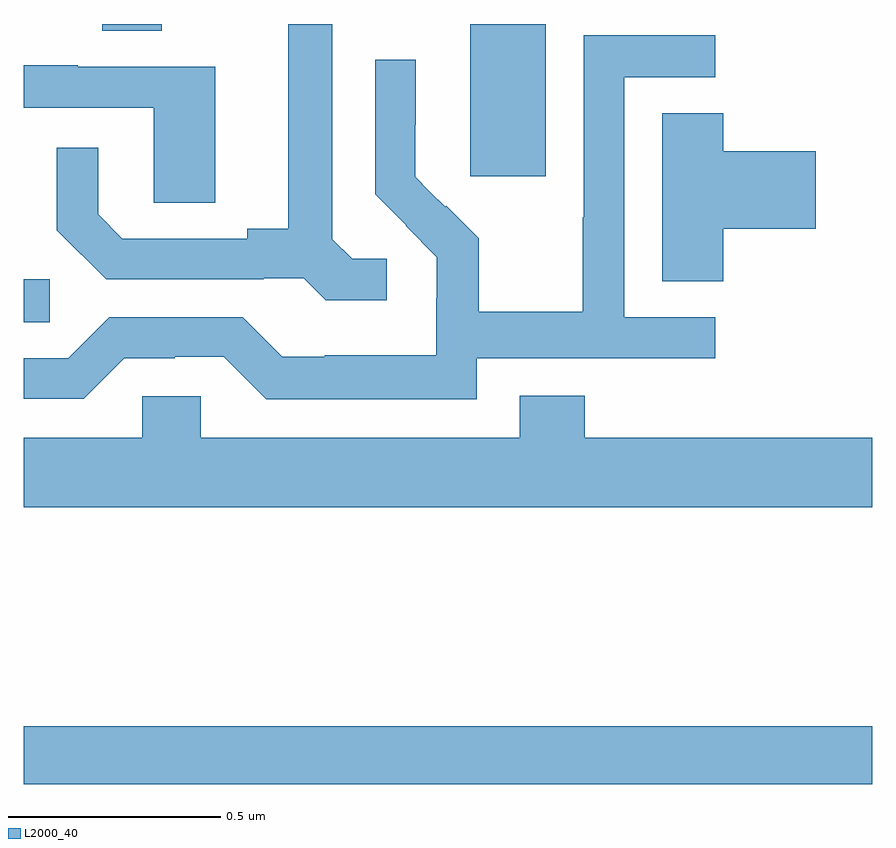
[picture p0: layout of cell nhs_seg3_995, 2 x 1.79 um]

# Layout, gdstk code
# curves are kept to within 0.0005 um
import gdstk
lib = gdstk.Library(unit=1e-6, precision=1e-09)
def R(c, l, rs):  # rectangles x0, y0, x1, y1
    for r in rs: c.add(gdstk.rectangle(r[:2], r[2:], *l))
def P(c, l, *ps):  # polygons
    for p in ps: c.add(gdstk.Polygon(p, *l))
L2000_40 = (2000, 40)

nhs_seg3_995 = lib.new_cell('nhs_seg3_995')
R(nhs_seg3_995, L2000_40, [(123,689.608,125,689.744), (123,690.697,123.061,690.798), (124.052,691.041,124.231,691.4), (123.185,691.384,123.325,691.4)])
P(nhs_seg3_995, L2000_40, [(123.856,690.846),(123.774,690.846),(123.727,690.893),(123.727,691.4),(123.623,691.4),(123.623,690.917),(123.527,690.917),(123.527,690.894),(123.232,690.894),(123.175,690.951),(123.175,691.108),(123.078,691.108),(123.078,690.914),(123.194,690.798),(123.566,690.798),(123.566,690.801),(123.66,690.801),(123.712,690.749),(123.856,690.749)],
  [(124.068,690.612),(124.63,690.612),(124.63,690.708),(124.416,690.708),(124.416,691.275),(124.63,691.275),(124.63,691.374),(124.32,691.374),(124.32,690.944),(124.318,690.944),(124.318,690.721),(124.073,690.721),(124.073,690.895),(123.996,690.972),(123.993,690.969),(123.923,691.04),(123.923,691.162),(123.924,691.162),(123.924,691.316),(123.828,691.316),(123.828,690.998),(123.901,690.925),(123.9,690.924),(123.974,690.85),(123.974,690.753),(123.972,690.753),(123.972,690.619),(123.709,690.619),(123.709,690.615),(123.609,690.615),(123.516,690.708),(123.201,690.708),(123.105,690.612),(123,690.612),(123,690.516),(123.141,690.516),(123.237,690.612),(123.356,690.612),(123.356,690.615),(123.471,690.615),(123.571,690.515),(124.068,690.515)],
  [(123.451,691.299),(123.127,691.299),(123.127,691.303),(123,691.303),(123,691.203),(123.306,691.203),(123.306,690.979),(123.451,690.979)],
  [(124.649,690.917),(124.867,690.917),(124.867,691.1),(124.649,691.1),(124.649,691.19),(124.505,691.19),(124.505,690.793),(124.649,690.793)],
  [(125,690.424),(124.322,690.424),(124.322,690.523),(124.169,690.523),(124.169,690.424),(123.417,690.424),(123.417,690.522),(123.279,690.522),(123.279,690.424),(123,690.424),(123,690.26),(125,690.26)])

lib.write_gds('nhs_seg3_995.gds')
